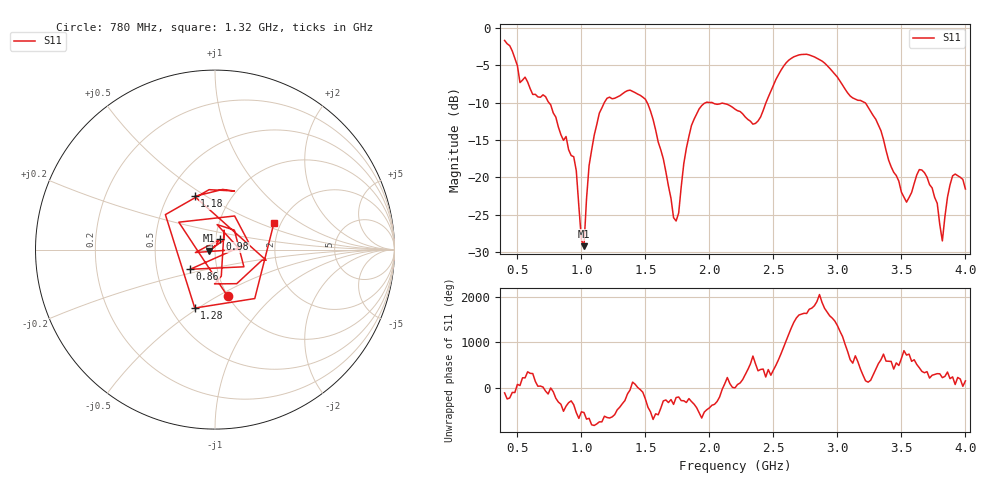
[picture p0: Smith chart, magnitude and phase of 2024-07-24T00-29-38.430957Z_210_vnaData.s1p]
!Created with skrf (http://scikit-rf.org).
# Hz S RI R 50.0
!freq ReS11 ImS11
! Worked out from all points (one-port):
!   181 points, 400 MHz to 4 GHz, reference 50 ohm
!   lowest |S11| = -29.2 dB at 1.02 GHz (marker M1), VSWR 1.07, Z = 46.7 - j0.631 ohm
!   |S11| at or under -10 dB: 746.1 MHz to 1.179 GHz (433 MHz wide, 45 % of centre); 1.514 GHz to 1.972 GHz (458.8 MHz wide, 26.3 % of centre); 3.214 GHz to end of sweep (the widest 3 of 4)
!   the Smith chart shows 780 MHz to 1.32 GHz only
!   S11 on the Smith chart (normalised r, x): 780 MHz: 1.00, -0.56; 860 MHz: 0.74, -0.17; 980 MHz: 1.05, +0.12; 1.18 GHz: 0.68, +0.45; 1.28 GHz: 0.66, -0.48; 1.32 GHz: 1.84, +0.64
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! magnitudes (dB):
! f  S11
! 400 MHz  -1.7
! 520 MHz  -7.3
! 780 MHz  -11.4
! 860 MHz  -15.1
! 940 MHz  -17.3
! 980 MHz  -23.9
! 1.02 GHz  -29.2
! 1.06 GHz  -18.4
! 1.18 GHz  -10.0
! 1.28 GHz  -9.3
! 1.3 GHz  -9.1
! 1.32 GHz  -8.8
! 1.52 GHz  -10.2
! 1.72 GHz  -25.4
! 1.76 GHz  -24.8
! 1.82 GHz  -16.1
! 1.92 GHz  -10.8
! 2.2 GHz  -10.9
! 2.36 GHz  -12.8
! 2.66 GHz  -3.9
! 3.1 GHz  -9.1
! 3.3 GHz  -12.2
! 3.56 GHz  -22.7
! 3.68 GHz  -19.4
! 3.78 GHz  -23.5
! 3.82 GHz  -28.5
! 3.9 GHz  -19.8
! 4 GHz  -21.6
